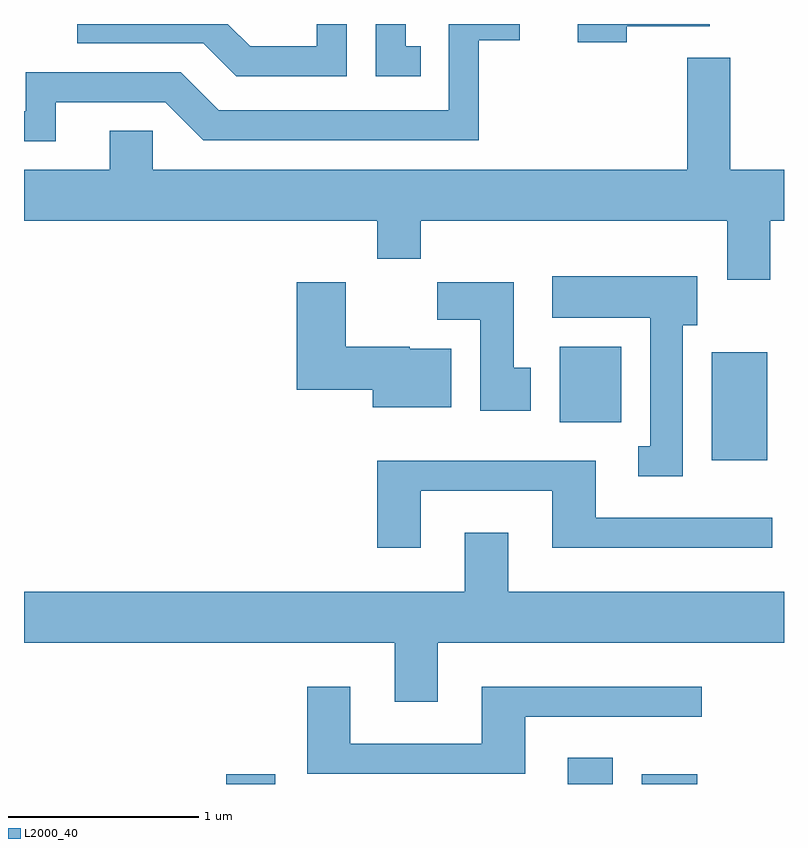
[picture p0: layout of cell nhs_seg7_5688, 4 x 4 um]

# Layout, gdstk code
import gdstk
lib = gdstk.Library(unit=1e-6, precision=1e-09)
def R(c, l, rs):  # rectangles x0, y0, x1, y1
    for r in rs: c.add(gdstk.rectangle(r[:2], r[2:], *l))
def P(c, l, *ps):  # polygons
    for p in ps: c.add(gdstk.Polygon(p, *l))
L2000_40 = (2000, 40)

nhs_seg7_5688 = lib.new_cell('nhs_seg7_5688')
R(nhs_seg7_5688, L2000_40, [(360.676,1700.252,360.934,1700.304), (362.473,1700.252,362.709,1700.389), (362.861,1700.252,363.154,1700.304), (363.231,1701.956,363.524,1702.524), (362.431,1702.156,362.754,1702.554)])
P(nhs_seg7_5688, L2000_40, [(361.309,1704.252),(361.151,1704.252),(361.151,1704.134),(360.802,1704.134),(360.684,1704.252),(359.891,1704.252),(359.891,1704.151),(360.554,1704.151),(360.729,1703.976),(361.309,1703.976)],
  [(362.784,1704.241),(363.219,1704.241),(363.219,1704.252),(362.526,1704.252),(362.526,1704.156),(362.784,1704.156)],
  [(361.698,1704.134),(361.619,1704.134),(361.619,1704.252),(361.461,1704.252),(361.461,1703.976),(361.698,1703.976)],
  [(359.779,1703.841),(360.354,1703.841),(360.554,1703.641),(362.004,1703.641),(362.004,1704.166),(362.219,1704.166),(362.219,1704.252),(361.846,1704.252),(361.846,1703.799),(360.637,1703.799),(360.437,1703.999),(359.621,1703.999),(359.621,1703.794),(359.611,1703.794),(359.611,1703.636),(359.779,1703.636)],
  [(363.539,1703.216),(363.611,1703.216),(363.611,1703.484),(363.329,1703.484),(363.329,1704.074),(363.101,1704.074),(363.101,1703.484),(360.289,1703.484),(360.289,1703.689),(360.061,1703.689),(360.061,1703.484),(359.611,1703.484),(359.611,1703.216),(361.471,1703.216),(361.471,1703.016),(361.699,1703.016),(361.699,1703.216),(363.311,1703.216),(363.311,1702.906),(363.539,1702.906)],
  [(363.079,1702.666),(363.154,1702.666),(363.154,1702.924),(362.391,1702.924),(362.391,1702.706),(362.906,1702.706),(362.906,1702.029),(362.843,1702.029),(362.843,1701.871),(363.079,1701.871)],
  [(361.859,1702.544),(361.64,1702.544),(361.64,1702.554),(361.304,1702.554),(361.304,1702.894),(361.046,1702.894),(361.046,1702.326),(361.446,1702.326),(361.446,1702.236),(361.859,1702.236)],
  [(362.279,1702.444),(362.189,1702.444),(362.189,1702.894),(361.786,1702.894),(361.786,1702.696),(362.011,1702.696),(362.011,1702.216),(362.279,1702.216)],
  [(361.699,1701.796),(362.391,1701.796),(362.391,1701.496),(363.548,1701.496),(363.548,1701.654),(362.619,1701.654),(362.619,1701.954),(361.471,1701.954),(361.471,1701.496),(361.699,1701.496)],
  [(361.789,1700.996),(363.611,1700.996),(363.611,1701.264),(362.159,1701.264),(362.159,1701.574),(361.931,1701.574),(361.931,1701.264),(359.611,1701.264),(359.611,1700.996),(361.561,1700.996),(361.561,1700.686),(361.789,1700.686)],
  [(362.249,1700.606),(363.178,1700.606),(363.178,1700.764),(362.021,1700.764),(362.021,1700.464),(361.329,1700.464),(361.329,1700.764),(361.101,1700.764),(361.101,1700.306),(362.249,1700.306)])

lib.write_gds('nhs_seg7_5688.gds')
